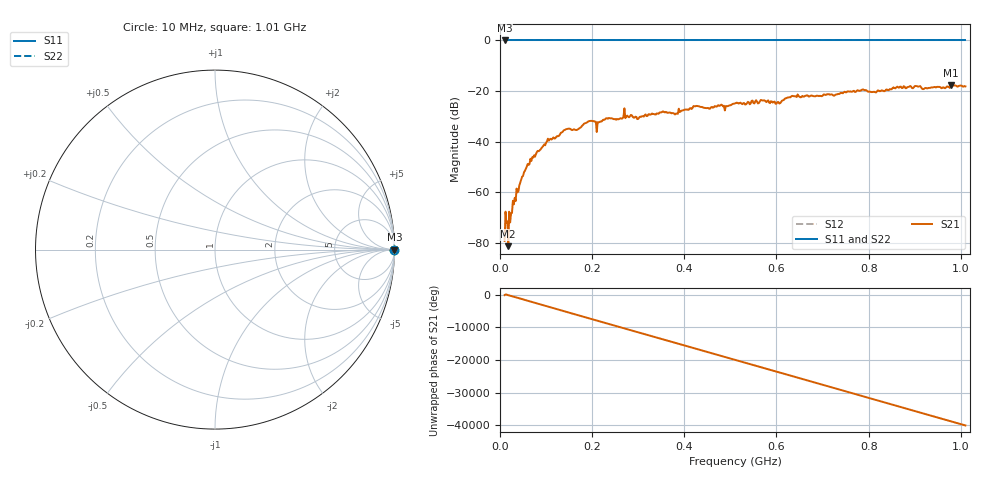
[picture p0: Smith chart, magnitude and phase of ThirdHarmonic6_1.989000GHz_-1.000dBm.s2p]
! 8/16/2025 11:54:41 PM
! C:\ANRITSUVNA\TEMP\TEMP.S2P
! CHANNEL.1
! TR.MEASUREMENT
! RAW.DATA
! RF.CORRECTION.OFF
! AVERAGING.OFF
! IF.BANDWIDTH: 5KHZ
! SWEEPTYPE:  FREQ.SWEEP(Linear)
! Reference Plane Port Info
! PORT:  PORT1  PORT2
! DISTANCE:  0  m  0  m
! TIME:  0  s  0  s
! PHASE.OFFSET:  0  deg.  0  deg.
! LOSS:  0  dB  0  dB
! REF.LOSS:  0  dB  0  dB
! REF.FREQ:  0  Hz  0  Hz
! Power Info
! POWER:  -20  dBm  -20  dBm
! EFF.POWER:  -20  dBm  -20  dBm
! SOURCE.ATTEN:  0  dB  0  dB
! TEST.ATTEN:  0  dB  0  dB
# GHZ S RI R 50.0
! FREQ.GHZ  S11RE  S11IM  S21RE  S21IM  S12RE  S12IM  S22RE  S22IM
!; PortSelection: Port_12
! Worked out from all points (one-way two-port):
!   501 points, 10 MHz to 1.01 GHz, reference 50 ohm
!   highest |S21| = -17.68 dB at 978 MHz (marker M1); lowest = -81.4 dB at 18 MHz (marker M2)
!   lowest |S11| = 0.0 dB at 10 MHz (marker M3)
!   |S11| at or under -10 dB: nowhere
!   |S22| runs from 0.0 to 0.0 dB; largest |S21 - S12| = 1.1
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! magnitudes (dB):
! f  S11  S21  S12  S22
! 10 MHz  0.0  -79.3  0.0  0.0
! 16 MHz  0.0  -71.6  0.0  0.0
! 18 MHz  0.0  -81.4  0.0  0.0
! 22 MHz  0.0  -72.0  0.0  0.0
! 24 MHz  0.0  -68.4  0.0  0.0
! 32 MHz  0.0  -62.2  0.0  0.0
! 48 MHz  0.0  -53.9  0.0  0.0
! 70 MHz  0.0  -46.2  0.0  0.0
! 106 MHz  0.0  -39.6  0.0  0.0
! 142 MHz  0.0  -35.3  0.0  0.0
! 178 MHz  0.0  -33.8  0.0  0.0
! 272 MHz  0.0  -30.7  0.0  0.0
! 302 MHz  0.0  -30.5  0.0  0.0
! 344 MHz  0.0  -29.0  0.0  0.0
! 510 MHz  0.0  -24.9  0.0  0.0
! 570 MHz  0.0  -23.8  0.0  0.0
! 602 MHz  0.0  -24.4  0.0  0.0
! 636 MHz  0.0  -22.0  0.0  0.0
! 678 MHz  0.0  -21.9  0.0  0.0
! 844 MHz  0.0  -19.6  0.0  0.0
! 978 MHz  0.0  -17.7  0.0  0.0
! 1.01 GHz  0.0  -18.2  0.0  0.0
